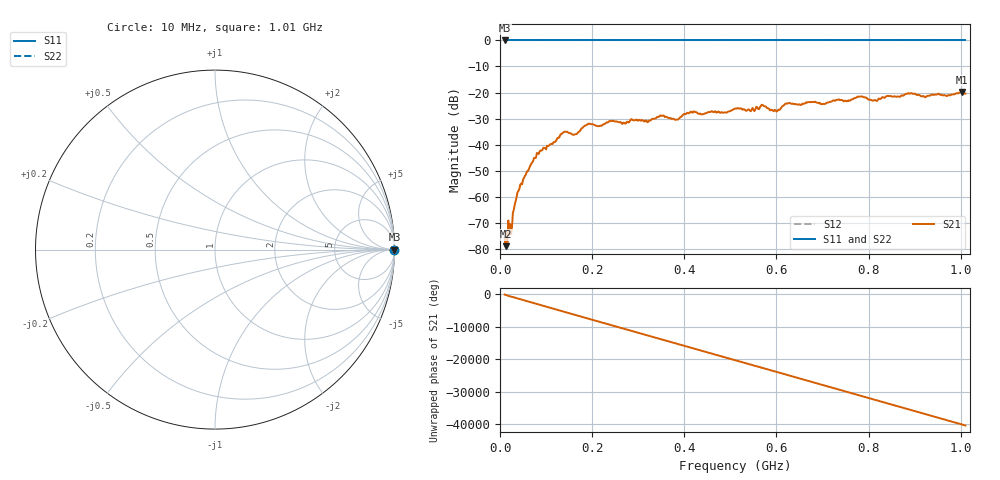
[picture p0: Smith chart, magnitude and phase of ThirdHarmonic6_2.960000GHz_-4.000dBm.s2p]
! 8/17/2025 8:20:54 AM
! C:\ANRITSUVNA\TEMP\TEMP.S2P
! CHANNEL.1
! TR.MEASUREMENT
! RAW.DATA
! RF.CORRECTION.OFF
! AVERAGING.OFF
! IF.BANDWIDTH: 5KHZ
! SWEEPTYPE:  FREQ.SWEEP(Linear)
! Reference Plane Port Info
! PORT:  PORT1  PORT2
! DISTANCE:  0  m  0  m
! TIME:  0  s  0  s
! PHASE.OFFSET:  0  deg.  0  deg.
! LOSS:  0  dB  0  dB
! REF.LOSS:  0  dB  0  dB
! REF.FREQ:  0  Hz  0  Hz
! Power Info
! POWER:  -20  dBm  -20  dBm
! EFF.POWER:  -20  dBm  -20  dBm
! SOURCE.ATTEN:  0  dB  0  dB
! TEST.ATTEN:  0  dB  0  dB
# GHZ S RI R 50.0
! FREQ.GHZ  S11RE  S11IM  S21RE  S21IM  S12RE  S12IM  S22RE  S22IM
!; PortSelection: Port_12
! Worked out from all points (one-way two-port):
!   501 points, 10 MHz to 1.01 GHz, reference 50 ohm
!   highest |S21| = -19.75 dB at 1.002 GHz (marker M1); lowest = -79.0 dB at 12 MHz (marker M2)
!   lowest |S11| = 0.0 dB at 10 MHz (marker M3)
!   |S11| at or under -10 dB: nowhere
!   |S22| runs from 0.0 to 0.0 dB; largest |S21 - S12| = 1.1
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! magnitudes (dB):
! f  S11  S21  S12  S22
! 10 MHz  0.0  -75.6  0.0  0.0
! 12 MHz  0.0  -79.0  0.0  0.0
! 24 MHz  0.0  -74.4  0.0  0.0
! 32 MHz  0.0  -63.1  0.0  0.0
! 42 MHz  0.0  -57.0  0.0  0.0
! 78 MHz  0.0  -45.1  0.0  0.0
! 136 MHz  0.0  -35.5  0.0  0.0
! 162 MHz  0.0  -36.1  0.0  0.0
! 178 MHz  0.0  -33.7  0.0  0.0
! 344 MHz  0.0  -29.4  0.0  0.0
! 384 MHz  0.0  -30.4  0.0  0.0
! 418 MHz  0.0  -27.7  0.0  0.0
! 510 MHz  0.0  -26.2  0.0  0.0
! 570 MHz  0.0  -24.8  0.0  0.0
! 598 MHz  0.0  -26.8  0.0  0.0
! 624 MHz  0.0  -24.2  0.0  0.0
! 678 MHz  0.0  -23.7  0.0  0.0
! 782 MHz  0.0  -21.6  0.0  0.0
! 814 MHz  0.0  -22.9  0.0  0.0
! 844 MHz  0.0  -21.4  0.0  0.0
! 1.002 GHz  0.0  -19.7  0.0  0.0
! 1.01 GHz  0.0  -20.4  0.0  0.0
